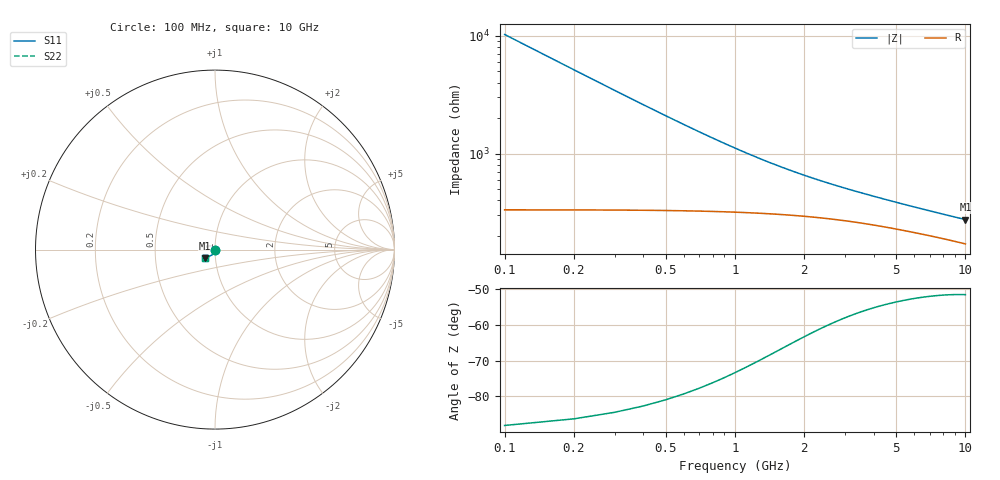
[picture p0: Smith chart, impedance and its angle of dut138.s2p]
! Touchstone file exported from HFSS 2024.1.0
!  File:  C:/UserFiles/LocalFiles/RDL_TSV_Batchsim/temp_TSV1_138_1778754426.aedt
!  Generated:  06:31:49 PM May 14, 2026
!  Design:  TSV1
!  Project:  temp_TSV1_138_1778754426
!  Setup:  Setup1
!  Solution:  Sweep
! Variables:
!  dtsv = 23.33um
!  hbump = 3um
!  htsv = 54.76um
!  lrdl = 252.1521522um
!  p = 40
!  p1 = 54.9um
!  t = 500um
!  trdl = 3um
!  wrdl = 24.89489489um
# GHz S MA R 50.000000
! Terminal data exported
! Port[1] = TSV22_T1
! Port[2] = TSV22_T2
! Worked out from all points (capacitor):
!   100 points, 100 MHz to 10 GHz, reference 50 ohm
!   read as one part in shunt: C = 155 fF near 100 MHz
!   lowest |Z| = 275 ohm at 10 GHz (marker M1)
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0.1  0.002223 -90.4  0.9998 -0.2  0.9998 -0.2  0.002223 -90.4
! Gamma 0 0 0 0
! Port Impedance 50 0 50 0
0.2  0.004433 -93.3  0.9996 -0.3  0.9996 -0.3  0.004433 -93.3
0.3  0.006619 -95.6  0.9992 -0.5  0.9992 -0.5  0.006619 -95.6
0.4  0.008771 -97.7  0.9986 -0.6  0.9986 -0.6  0.008771 -97.7
0.5  0.01088 -99.7  0.9979 -0.7  0.9979 -0.7  0.01088 -99.7
0.6  0.01293 -101.6  0.9971 -0.9  0.9971 -0.9  0.01293 -101.6
0.7  0.01492 -103.5  0.9962 -1.0  0.9962 -1.0  0.01492 -103.5
0.8  0.01685 -105.2  0.9952 -1.1  0.9952 -1.1  0.01685 -105.2
0.9  0.0187 -106.9  0.9942 -1.2  0.9942 -1.2  0.0187 -106.9
1.1  0.02218 -110.1  0.992 -1.4  0.992 -1.4  0.02218 -110.1
1.4  0.02685 -114.3  0.9887 -1.7  0.9887 -1.7  0.02685 -114.3
1.6  0.02962 -116.7  0.9865 -1.9  0.9865 -1.9  0.02962 -116.7
1.8  0.03213 -118.8  0.9843 -2.0  0.9843 -2.0  0.03213 -118.8
2.1  0.03551 -121.6  0.9813 -2.2  0.9813 -2.2  0.03551 -121.6
2.5  0.0394 -124.6  0.9776 -2.4  0.9776 -2.4  0.0394 -124.6
2.9  0.04277 -126.9  0.9744 -2.6  0.9744 -2.6  0.04277 -126.9
3.4  0.04644 -129.2  0.9707 -2.8  0.9707 -2.8  0.04644 -129.2
4.2  0.05147 -132.0  0.9658 -3.1  0.9658 -3.1  0.05147 -132.0
5.1  0.05627 -134.2  0.9611 -3.4  0.9611 -3.4  0.05627 -134.2
6.7  0.0633 -136.9  0.9544 -3.9  0.9544 -3.9  0.0633 -136.9
8.4  0.0693 -138.8  0.9487 -4.4  0.9487 -4.4  0.0693 -138.8
10  0.07402 -140.0  0.9444 -4.8  0.9444 -4.8  0.07402 -140.0
